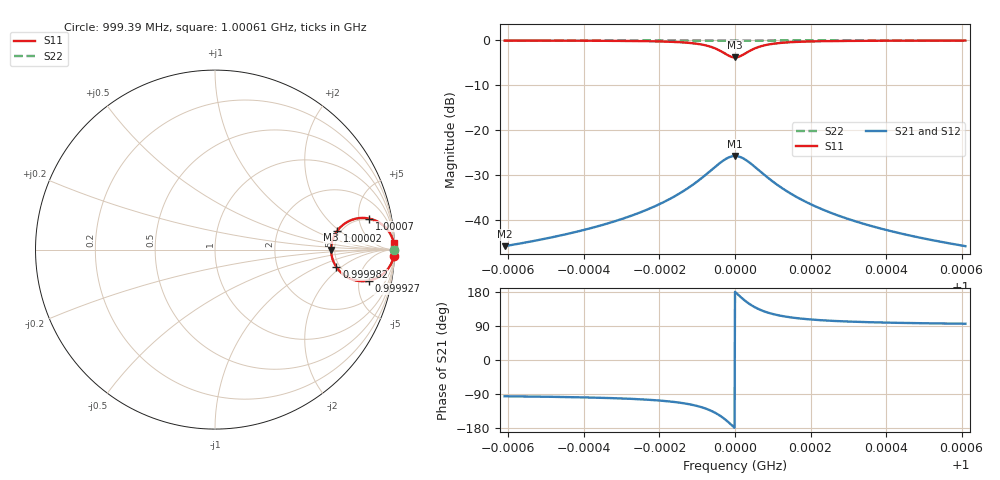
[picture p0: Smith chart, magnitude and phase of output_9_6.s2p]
! File generated for n1 = 9, n2 = 6
! b1 = 0.215443
! b2 = 0.004642
! Q0 = 10000.000000
! f0 = 1000000000.000000
! n = 1001
! rel_span = 10.000000
# Hz S RI R 50
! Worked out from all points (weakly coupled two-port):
!   1001 points, 999.39 MHz to 1.00061 GHz, reference 50 ohm
!   highest |S21| = -25.71 dB at 1 GHz (marker M1); lowest = -45.8 dB at 999.39 MHz (marker M2)
!   lowest |S11| = -3.8 dB at 1 GHz (marker M3), VSWR 4.66, Z = 233 + j0 ohm
!   |S11| at or under -10 dB: nowhere
!   |S22| runs from -0.1 to 0.0 dB; largest |S21 - S12| = 0
!   S11 on the Smith chart (normalised r, x): 999.39 MHz: 5, -57; 999.927 MHz: 4.66, -6.80; 999.982 MHz: 4.66, -1.70; 1.00002 GHz: 4.66, +1.81; 1.00007 GHz: 4.66, +6.91; 1.00061 GHz: 5, +57
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9.9939e8  0.9965 -0.035  -0.000513 -0.00513  -0.000513 -0.00513  0.9999 -0.000753
9.994949e8  0.9949 -0.042  -0.000745 -0.00617  -0.000745 -0.00617  0.9999 -0.000905
9.995937e8  0.9922 -0.0518  -0.00114 -0.00761  -0.00114 -0.00761  0.9998 -0.00112
9.99706e8  0.9854 -0.0702  -0.00214 -0.0103  -0.00214 -0.0103  0.9997 -0.00151
9.997975e8  0.9706 -0.0975  -0.00431 -0.0143  -0.00431 -0.0143  0.9994 -0.0021
9.998756e8  0.9316 -0.1396  -0.01 -0.0205  -0.01 -0.0205  0.9985 -0.00301
9.999036e8  0.899 -0.1596  -0.0148 -0.0234  -0.0148 -0.0234  0.9978 -0.00344
9.999268e8  0.8553 -0.1737  -0.0212 -0.0255  -0.0212 -0.0255  0.9969 -0.00374
9.999573e8  0.763 -0.1659  -0.0348 -0.0244  -0.0348 -0.0244  0.9949 -0.00357
9.999695e8  0.7175 -0.1413  -0.0415 -0.0207  -0.0415 -0.0207  0.9939 -0.00304
9.999817e8  0.676 -0.0972  -0.0476 -0.0143  -0.0476 -0.0143  0.993 -0.00209
1e9  0.6468 0  -0.0518 0  -0.0518 0  0.9924 0
1.00002e9  0.6796 0.1025  -0.047 0.015  -0.047 0.015  0.9931 0.00221
1.000043e9  0.763 0.1659  -0.0348 0.0244  -0.0348 0.0244  0.9949 0.00357
1.000074e9  0.8581 0.1731  -0.0208 0.0254  -0.0208 0.0254  0.9969 0.00373
1.000098e9  0.9008 0.1587  -0.0146 0.0233  -0.0146 0.0233  0.9979 0.00342
1.000126e9  0.9326 0.1387  -0.00989 0.0204  -0.00989 0.0204  0.9985 0.00299
1.000204e9  0.9709 0.097  -0.00427 0.0142  -0.00427 0.0142  0.9994 0.00209
1.000295e9  0.9855 0.07  -0.00212 0.0103  -0.00212 0.0103  0.9997 0.00151
1.000408e9  0.9923 0.0517  -0.00114 0.00759  -0.00114 0.00759  0.9998 0.00111
1.000506e9  0.9949 0.042  -0.000742 0.00616  -0.000742 0.00616  0.9999 0.000904
1.00061e9  0.9965 0.035  -0.000514 0.00513  -0.000514 0.00513  0.9999 0.000754
